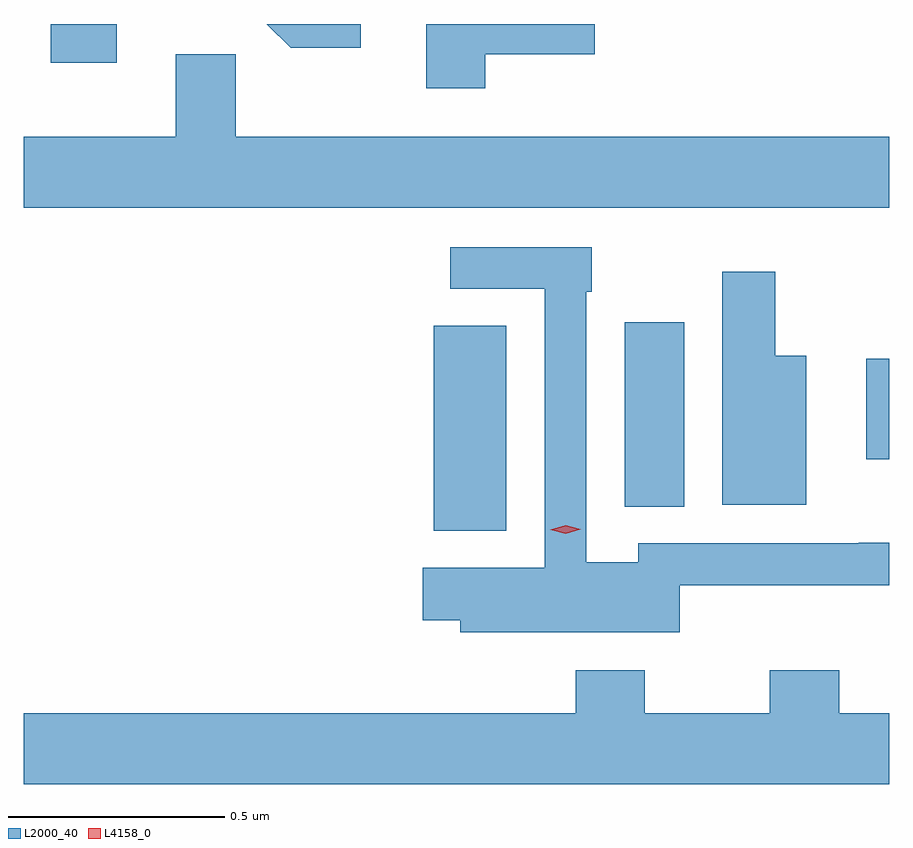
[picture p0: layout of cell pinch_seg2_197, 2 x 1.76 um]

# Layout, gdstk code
import gdstk
lib = gdstk.Library(unit=1e-6, precision=1e-09)
def R(c, l, rs):  # rectangles x0, y0, x1, y1
    for r in rs: c.add(gdstk.rectangle(r[:2], r[2:], *l))
def P(c, l, *ps):  # polygons
    for p in ps: c.add(gdstk.Polygon(p, *l))
L2000_40 = (2000, 40)
L4158_0 = (4158, 0)

pinch_seg2_197 = lib.new_cell('pinch_seg2_197')
R(pinch_seg2_197, L2000_40, [(986.318,662.873,986.485,663.347), (986.759,662.929,986.896,663.355), (987.317,663.038,987.37,663.271), (985.433,663.954,985.585,664.044)])
P(pinch_seg2_197, L2000_40, [(986.436,663.974),(986.689,663.974),(986.689,664.044),(986.3,664.044),(986.3,663.896),(986.436,663.896)],
  [(986.149,664.044),(985.932,664.044),(985.987,663.989),(986.149,663.989)],
  [(987.37,663.784),(985.86,663.784),(985.86,663.974),(985.721,663.974),(985.721,663.784),(985.37,663.784),(985.37,663.62),(987.37,663.62)],
  [(986.886,662.747),(987.37,662.747),(987.37,662.845),(987.299,662.845),(987.299,662.844),(986.79,662.844),(986.79,662.8),(986.67,662.8),(986.67,663.425),(986.683,663.425),(986.683,663.528),(986.355,663.528),(986.355,663.432),(986.574,663.432),(986.574,662.788),(986.292,662.788),(986.292,662.666),(986.379,662.666),(986.379,662.639),(986.886,662.639)],
  [(987.178,663.277),(987.106,663.277),(987.106,663.472),(986.984,663.472),(986.984,662.933),(987.178,662.933)],
  [(987.37,662.452),(987.254,662.452),(987.254,662.551),(987.094,662.551),(987.094,662.452),(986.805,662.452),(986.805,662.551),(986.645,662.551),(986.645,662.452),(985.37,662.452),(985.37,662.288),(987.37,662.288)])
P(pinch_seg2_197, L4158_0, [(986.622,662.866),(986.587,662.876),(986.587,662.876),(986.587,662.876),(986.622,662.886),(986.657,662.877),(986.657,662.877),(986.657,662.877)])

lib.write_gds('pinch_seg2_197.gds')
